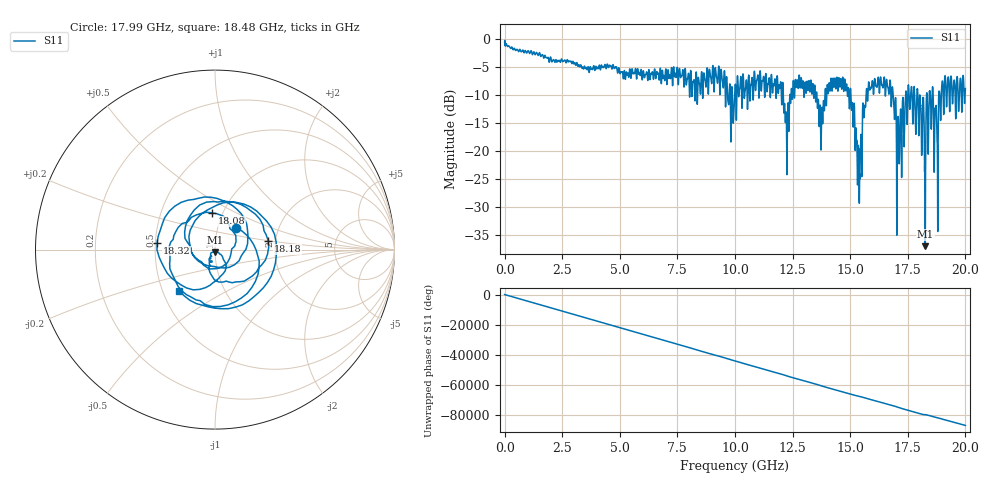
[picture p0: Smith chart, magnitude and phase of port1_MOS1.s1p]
! MS46122B
! 2250307/22442219
! 6/12/2025 7:36:00 AM
! C:\USERS\SPARKY\DOCUMENTS\VNA_DATA\JUNE12_2025\3.1 KELVIN\PORT1.S1P
! CHANNEL.1
! TR.MEASUREMENT
! RAW.DATA
# GHZ S RI R 50.0
! FREQ.GHZ  S11RE  S11IM
!; PortSelection: Port_1
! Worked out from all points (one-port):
!   10001 points, 1 MHz to 20 GHz, reference 50 ohm
!   lowest |S11| = -37.0 dB at 18.26 GHz (marker M1), VSWR 1.03, Z = 50 - j1.41 ohm
!   |S11| at or under -10 dB: 13.55 GHz to 13.9 GHz (349.6 MHz wide, 2.55 % of centre); 15.03 GHz to 15.69 GHz (660 MHz wide, 4.3 % of centre); 16.87 GHz to 17.4 GHz (536.9 MHz wide, 3.13 % of centre) (the widest 3 of 55)
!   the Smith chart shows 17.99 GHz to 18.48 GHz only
!   S11 on the Smith chart (normalised r, x): 17.99 GHz: 1.22, +0.31; 18.08 GHz: 0.89, +0.38; 18.18 GHz: 1.83, +0.20; 18.32 GHz: 0.51, +0.04; 18.48 GHz: 0.61, -0.31
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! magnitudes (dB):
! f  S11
! 1 MHz  -0.5
! 2.501 GHz  -3.8
! 5.001 GHz  -6.0
! 7.501 GHz  -5.2
! 9.221 GHz  -7.2
! 10 GHz  -8.6
! 11.9 GHz  -8.4
! 12.26 GHz  -21.8
! 12.5 GHz  -9.9
! 13.29 GHz  -7.3
! 13.73 GHz  -19.8
! 14.25 GHz  -7.0
! 15 GHz  -9.3
! 15.41 GHz  -25.4
! 15.63 GHz  -12.2
! 15.88 GHz  -8.7
! 16.66 GHz  -9.2
! 17.09 GHz  -14.9
! 17.5 GHz  -9.7
! 17.99 GHz  -15.4
! 18.08 GHz  -13.7
! 18.18 GHz  -10.4
! 18.26 GHz  -37.0
! 18.32 GHz  -9.8
! 18.48 GHz  -10.4
! 18.72 GHz  -12.3
! 19.05 GHz  -13.2
! 20 GHz  -8.8
